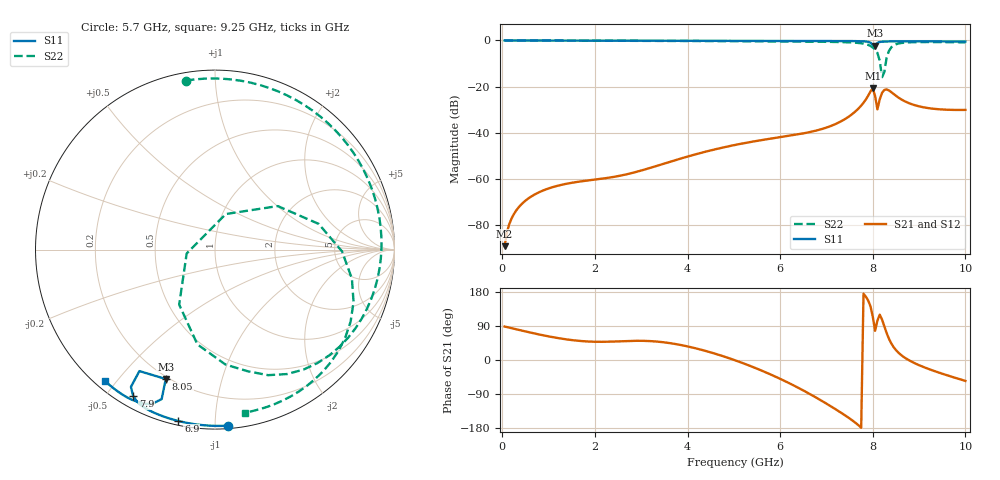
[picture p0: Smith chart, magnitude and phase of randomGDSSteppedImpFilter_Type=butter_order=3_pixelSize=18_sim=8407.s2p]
! freq	dB(S11)	phase(S11)	dB(S12)	phase(S12)
!  dB(S21)	phase(S21)	dB(S22)	phase(S22)
!S-par simulation data
#  GHz  S  DB  R 50
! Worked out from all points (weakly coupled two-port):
!   200 points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, 50 MHz to 10 GHz, reference 50 ohm
!   highest |S21| = -20.70 dB at 8 GHz (marker M1); lowest = -89.3 dB at 50 MHz (marker M2)
!   lowest |S11| = -2.3 dB at 8.05 GHz (marker M3), VSWR 7.75, Z = 9.45 - j33.6 ohm
!   |S11| at or under -10 dB: nowhere
!   |S22| runs from -16.0 to 0.0 dB; largest |S21 - S12| = 0
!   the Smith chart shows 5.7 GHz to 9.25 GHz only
!   S11 on the Smith chart (normalised r, x): 5.7 GHz: 0.02, -1.07; 6.9 GHz: 0.02, -0.81; 7.9 GHz: 0.05, -0.59; 8.05 GHz: 0.19, -0.67; 9.25 GHz: 0.03, -0.47
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0.05  -0.00 -0.8  -89.25 88.3  -89.25 88.3  -0.00 -2.2
0.7  -0.01 -11.3  -66.82 69.9  -66.82 69.9  -0.03 -30.2
1.75  -0.04 -27.9  -61.00 49.6  -61.00 49.6  -0.09 -74.4
2.55  -0.05 -40.3  -58.66 49.4  -58.66 49.4  -0.13 -107.6
3.4  -0.07 -53.2  -54.02 47.9  -54.02 47.9  -0.18 -143.3
4.25  -0.09 -65.6  -48.99 28.6  -48.99 28.6  -0.25 178.4
5.05  -0.12 -76.9  -45.24 -1.8  -45.24 -1.8  -0.32 137.6
5.7  -0.14 -85.9  -42.91 -33.1  -42.91 -33.1  -0.40 99.8
6.7  -0.19 -99.3  -39.48 -93.8  -39.48 -93.8  -0.53 34.9
6.9  -0.21 -102.0  -38.43 -107.9  -38.43 -107.9  -0.56 21.3
7.45  -0.26 -109.7  -33.48 -150.0  -33.48 -150.0  -0.79 -17.5
7.9  -0.59 -119.2  -24.00 157.2  -24.00 157.2  -1.92 -59.9
8  -1.97 -121.9  -20.70 114.4  -20.70 114.4  -3.07 -74.9
8.05  -2.25 -110.8  -24.12 77.1  -24.12 77.1  -3.84 -84.8
8.1  -1.07 -109.6  -29.89 103.9  -29.89 103.9  -5.40 -100.5
8.2  -0.53 -113.9  -22.73 106.8  -22.73 106.8  -15.96 -172.2
8.25  -0.48 -115.3  -21.45 88.6  -21.45 88.6  -13.68 73.2
8.35  -0.43 -117.2  -21.69 55.8  -21.69 55.8  -4.50 13.9
8.45  -0.39 -118.9  -23.22 34.1  -23.22 34.1  -2.16 -12.0
8.7  -0.37 -122.6  -26.48 5.4  -26.48 5.4  -0.92 -44.2
9.25  -0.40 -129.9  -29.49 -25.7  -29.49 -25.7  -0.69 -79.7
10  -0.48 -139.4  -30.13 -55.2  -30.13 -55.2  -0.81 -114.0
